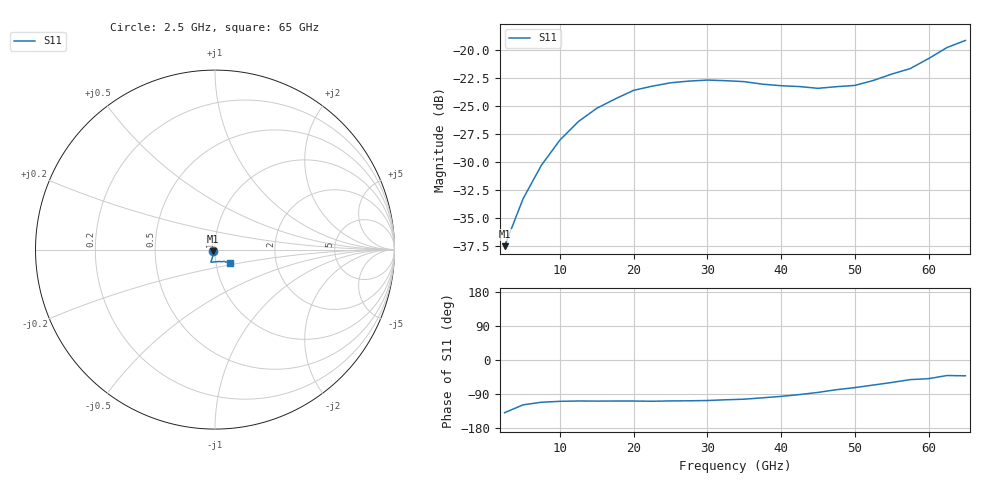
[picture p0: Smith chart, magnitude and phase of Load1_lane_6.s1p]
! File created by SignalIntegrity v1.5.1: Signal and Power Integrity Tools
! https://github.com/Nubis-Communications/SignalIntegrity
# MHz S MA R 50.0
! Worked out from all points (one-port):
!   26 points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, 2.5 GHz to 65 GHz, reference 50 ohm
!   lowest |S11| = -37.6 dB at 2.5 GHz (marker M1), VSWR 1.03, Z = 49 - j0.851 ohm
!   |S11| at or under -10 dB: start of sweep to end of sweep
2500  0.01325 -139.1
5000  0.0216 -118.3
7500  0.03058 -111.4
10000  0.0396 -109.0
12500  0.04792 -108.2
15000  0.05498 -108.4
17500  0.06056 -108.3
20000  0.06616 -108.3
22500  0.06904 -108.9
25000  0.07151 -108.0
27500  0.07278 -107.6
30000  0.07357 -106.9
32500  0.07308 -105.0
35000  0.07237 -103.4
37500  0.07049 -99.8
40000  0.0694 -96.0
42500  0.06879 -91.2
45000  0.06755 -85.6
47500  0.06872 -78.4
50000  0.06959 -72.9
52500  0.07323 -66.1
55000  0.07823 -59.3
57500  0.08277 -51.8
60000  0.09178 -49.3
62500  0.1029 -41.0
65000  0.1107 -41.7
